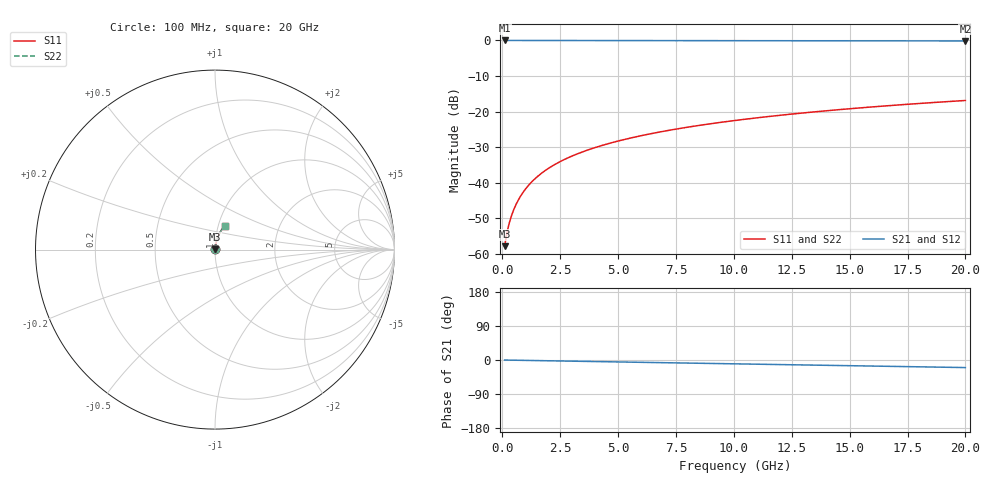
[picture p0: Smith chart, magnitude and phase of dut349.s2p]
! Touchstone file exported from HFSS 2026.1.0
!  File:  C:/ffzhzh/LocalFiles/Ansys_Project_Files/temp_train_BSMRDL_349_1783011336_51716.aedt
!  Generated:  12:57:05 AM Jul  3, 2026
!  Design:  BSMRDL
!  Project:  temp_train_BSMRDL_349_1783011336_51716
! Variables:
!  h_bsmrdl = 5.36um
!  h_ox = 20um
!  h_rdl = 5um
!  h_sub = 80um
!  h_tmrdl = 5um
!  h_tsv = 80um
!  h_via = 3um
!  l_bsmrdl = 295.97um
!  l_sub = 695.97um
!  l_tmrdl = 200um
!  m_sub = 200um
!  pitch = 45.97um
!  r_tsv = 6um
!  s_tmrdl = 10um
!  w_bsmrdl = 27.52um
!  w_sub = 500um
!  w_tmrdl = 12um
!  x_tsv_center1 = 206um
!  x_tsv_center2 = 529.49um
!  x_tsv_center3 = 741.49um
!  x_tsv_center4 = 1064.98um
!  x_tsv_center5 = 1276.98um
!  x_tsv_center6 = 1600.47um
# GHz S MA R 50.000000
! Terminal data exported
! Port[1] = BSM_RDL1_1_T1
! Port[2] = BSM_RDL1_1_T2
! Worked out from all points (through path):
!   200 points, 100 MHz to 20 GHz, reference 50 ohm
!   highest |S21| = -0.01 dB at 100 MHz (marker M1); lowest = -0.1 dB at 20 GHz (marker M2)
!   group delay of S21, straight-line fit = 2.77 ps
!   lowest |S11| = -57.8 dB at 100 MHz (marker M3), VSWR 1.00, Z = 50.1 + j0.0916 ohm
!   |S11| at or under -10 dB: start of sweep to end of sweep
!   |S22| runs from -57.8 to -16.9 dB; largest |S21 - S12| = 3.2e-15
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0.1  0.001284 45.4  0.9991 -0.1  0.9991 -0.1  0.001284 45.4
! Gamma 0 0 0 0
! Port Impedance 50 0 50 0
0.2  0.001982 60.1  0.999 -0.2  0.999 -0.2  0.001982 60.1
0.3  0.002708 67.5  0.9989 -0.3  0.9989 -0.3  0.002708 67.5
0.4  0.003458 71.9  0.9989 -0.4  0.9989 -0.4  0.003458 71.9
0.5  0.004224 74.8  0.9989 -0.5  0.9989 -0.5  0.004224 74.8
0.6  0.005001 76.7  0.9988 -0.6  0.9988 -0.6  0.005001 76.7
0.8  0.006568 79.2  0.9988 -0.8  0.9988 -0.8  0.006568 79.2
1.1  0.008933 81.0  0.9987 -1.1  0.9987 -1.1  0.008933 81.0
1.3  0.01051 81.7  0.9986 -1.4  0.9986 -1.4  0.01051 81.7
1.5  0.01208 82.0  0.9985 -1.6  0.9985 -1.6  0.01208 82.0
1.8  0.01442 82.3  0.9984 -1.9  0.9984 -1.9  0.01442 82.3
2.1  0.01675 82.4  0.9983 -2.2  0.9983 -2.2  0.01675 82.4
2.7  0.02136 82.3  0.9979 -2.8  0.9979 -2.8  0.02136 82.3
3.5  0.02741 81.9  0.9975 -3.6  0.9975 -3.6  0.02741 81.9
4.2  0.03263 81.4  0.997 -4.3  0.997 -4.3  0.03263 81.4
5  0.03854 80.8  0.9965 -5.1  0.9965 -5.1  0.03854 80.8
6.8  0.05167 79.5  0.9954 -6.9  0.9954 -6.9  0.05167 79.5
8.3  0.0625 78.2  0.9944 -8.4  0.9944 -8.4  0.0625 78.2
10.1  0.07535 76.7  0.9931 -10.2  0.9931 -10.2  0.07536 76.7
13.4  0.09855 73.8  0.9905 -13.5  0.9905 -13.5  0.09856 73.8
16.7  0.1212 70.8  0.9874 -16.7  0.9874 -16.7  0.1212 70.8
20  0.1433 67.8  0.984 -20.0  0.984 -20.0  0.1433 67.8
